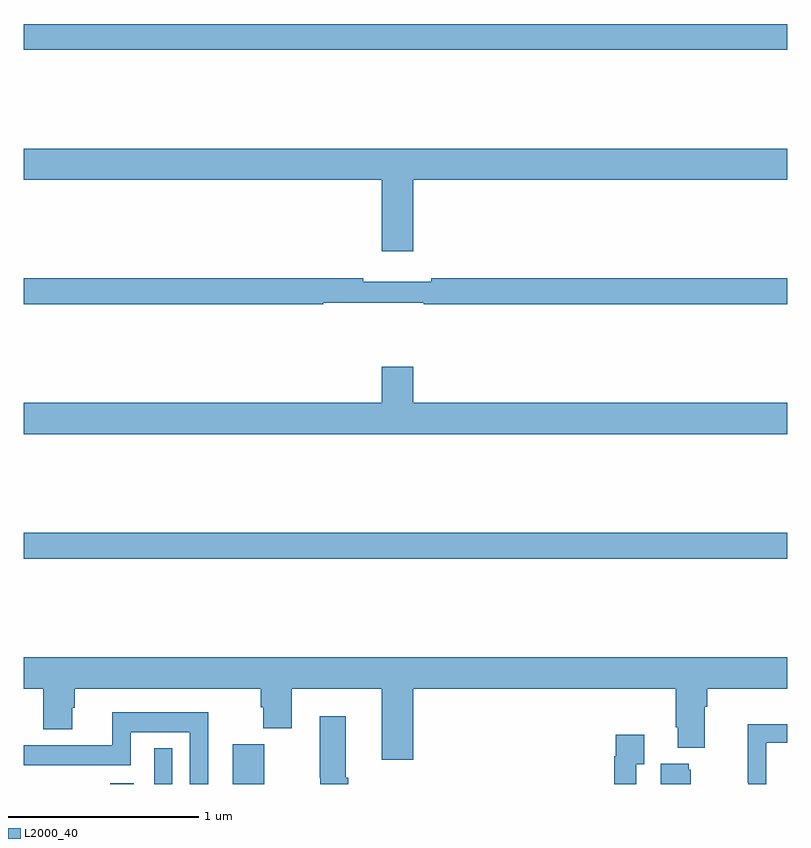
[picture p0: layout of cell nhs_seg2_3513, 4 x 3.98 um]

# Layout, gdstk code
import gdstk
lib = gdstk.Library(unit=1e-6, precision=1e-09)
def R(c, l, rs):  # rectangles x0, y0, x1, y1
    for r in rs: c.add(gdstk.rectangle(r[:2], r[2:], *l))
def P(c, l, *ps):  # polygons
    for p in ps: c.add(gdstk.Polygon(p, *l))
L2000_40 = (2000, 40)

nhs_seg2_3513 = lib.new_cell('nhs_seg2_3513')
R(nhs_seg2_3513, L2000_40, [(295.454,649.8,295.576,649.804), (295.683,649.8,295.779,649.987), (296.096,649.8,296.26,650.007), (295,650.98,299,651.116), (295,653.644,299,653.78)])
P(nhs_seg2_3513, L2000_40, [(297.04,652.964),(299,652.964),(299,653.128),(295,653.128),(295,652.964),(296.876,652.964),(296.876,652.59),(297.04,652.59)],
  [(296.57,652.32),(297.095,652.32),(297.095,652.312),(299,652.312),(299,652.448),(297.136,652.448),(297.136,652.429),(296.78,652.429),(296.78,652.448),(295,652.448),(295,652.312),(296.57,652.312)],
  [(299,651.796),(297.04,651.796),(297.04,651.985),(296.876,651.985),(296.876,651.796),(295,651.796),(295,651.632),(299,651.632)],
  [(297.04,650.3),(298.415,650.3),(298.415,650.098),(298.427,650.098),(298.427,649.991),(298.567,649.991),(298.567,650.204),(298.58,650.204),(298.58,650.3),(299,650.3),(299,650.464),(295,650.464),(295,650.3),(295.103,650.3),(295.103,650.087),(295.255,650.087),(295.255,650.199),(295.268,650.199),(295.268,650.3),(296.243,650.3),(296.243,650.201),(296.255,650.201),(296.255,650.092),(296.403,650.092),(296.403,650.3),(296.876,650.3),(296.876,649.926),(297.04,649.926)],
  [(295.966,650.176),(295.463,650.176),(295.463,650.002),(295,650.002),(295,649.898),(295.56,649.898),(295.56,650.072),(295.869,650.072),(295.869,649.8),(295.966,649.8)],
  [(296.699,649.834),(296.686,649.834),(296.686,650.155),(296.552,650.155),(296.552,649.834),(296.553,649.834),(296.553,649.8),(296.699,649.8)],
  [(298.89,650.016),(299,650.016),(299,650.114),(298.792,650.114),(298.792,649.807),(298.794,649.807),(298.794,649.8),(298.89,649.8)],
  [(298.209,649.903),(298.249,649.903),(298.249,650.059),(298.101,650.059),(298.101,649.946),(298.093,649.946),(298.093,649.8),(298.209,649.8)],
  [(298.495,649.875),(298.484,649.875),(298.484,649.906),(298.337,649.906),(298.337,649.8),(298.495,649.8)])

lib.write_gds('nhs_seg2_3513.gds')
